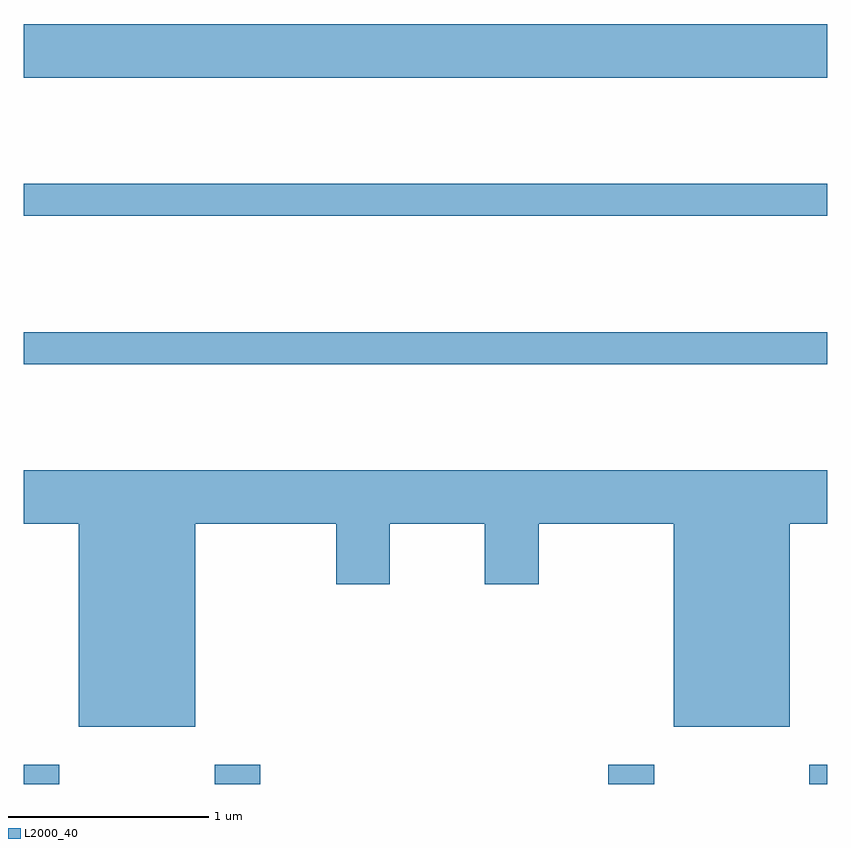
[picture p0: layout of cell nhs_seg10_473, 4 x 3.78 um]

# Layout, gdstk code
import gdstk
lib = gdstk.Library(unit=1e-6, precision=1e-09)
def R(c, l, rs):  # rectangles x0, y0, x1, y1
    for r in rs: c.add(gdstk.rectangle(r[:2], r[2:], *l))
def P(c, l, *ps):  # polygons
    for p in ps: c.add(gdstk.Polygon(p, *l))
L2000_40 = (2000, 40)

nhs_seg10_473 = lib.new_cell('nhs_seg10_473')
R(nhs_seg10_473, L2000_40, [(197.611,2212.522,197.789,2212.619), (198.561,2212.522,198.789,2212.619), (200.521,2212.522,200.749,2212.619), (201.521,2212.522,201.611,2212.619), (197.611,2214.611,201.611,2214.769), (197.611,2215.351,201.611,2215.509), (197.611,2216.036,201.611,2216.304)])
P(nhs_seg10_473, L2000_40, [(198.464,2213.816),(199.166,2213.816),(199.166,2213.516),(199.434,2213.516),(199.434,2213.816),(199.906,2213.816),(199.906,2213.516),(200.174,2213.516),(200.174,2213.816),(200.846,2213.816),(200.846,2212.806),(201.424,2212.806),(201.424,2213.816),(201.611,2213.816),(201.611,2214.084),(197.611,2214.084),(197.611,2213.816),(197.886,2213.816),(197.886,2212.806),(198.464,2212.806)])

lib.write_gds('nhs_seg10_473.gds')
